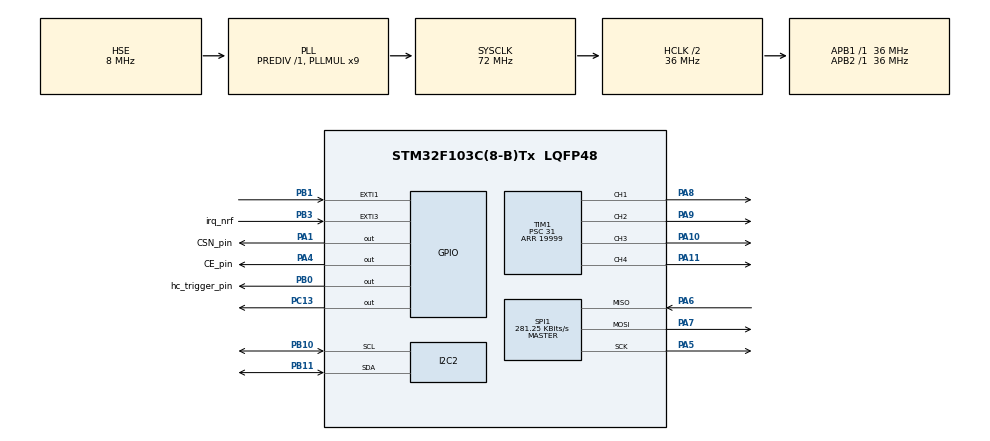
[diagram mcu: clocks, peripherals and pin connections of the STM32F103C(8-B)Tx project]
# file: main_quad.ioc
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I2C2.I2C_Mode=I2C_Fast
Mcu.Family=STM32F1
Mcu.Name=STM32F103C(8-B)Tx
Mcu.Package=LQFP48
NVIC.EXTI1_IRQn=true\:0\:0\:false\:false\:true\:true\:true\:true
NVIC.PriorityGroup=NVIC_PRIORITYGROUP_4
PA1.GPIO_Label=CSN_pin
PA1.Signal=GPIO_Output
PA10.Signal=S_TIM1_CH3
PA11.Signal=S_TIM1_CH4
PA13.Mode=Serial_Wire
PA13.Signal=SYS_JTMS-SWDIO
PA14.Mode=Serial_Wire
PA14.Signal=SYS_JTCK-SWCLK
PA4.GPIO_Label=CE_pin
PA4.Signal=GPIO_Output
PA5.Mode=Full_Duplex_Master
PA5.Signal=SPI1_SCK
PA6.Mode=Full_Duplex_Master
PA6.Signal=SPI1_MISO
PA7.Mode=Full_Duplex_Master
PA7.Signal=SPI1_MOSI
PA8.Signal=S_TIM1_CH1
PA9.Signal=S_TIM1_CH2
PB0.GPIO_Label=hc_trigger_pin
PB0.Signal=GPIO_Output
PB1.GPIO_ModeDefaultEXTI=GPIO_MODE_IT_RISING_FALLING
PB1.Signal=GPXTI1
PB10.Mode=I2C
PB10.Signal=I2C2_SCL
PB11.Mode=I2C
PB11.Signal=I2C2_SDA
PB3.GPIO_Label=irq_nrf
PB3.Signal=GPXTI3
PC13-TAMPER-RTC.Signal=GPIO_Output
PD0-OSC_IN.Mode=HSE-External-Oscillator
PD0-OSC_IN.Signal=RCC_OSC_IN
PD1-OSC_OUT.Mode=HSE-External-Oscillator
PD1-OSC_OUT.Signal=RCC_OSC_OUT
ProjectManager.HeapSize=0x200
ProjectManager.StackSize=0x400
ProjectManager.TargetToolchain=STM32CubeIDE
RCC.ADCPresc=RCC_ADCPCLK2_DIV4
RCC.AHBCLKDivider=RCC_SYSCLK_DIV2
RCC.AHBFreq_Value=36000000
RCC.APB1Freq_Value=36000000
RCC.APB1TimFreq_Value=36000000
RCC.APB2Freq_Value=36000000
RCC.APB2TimFreq_Value=36000000
RCC.HCLKFreq_Value=36000000
RCC.PLLMUL=RCC_PLL_MUL9
RCC.PLLSourceVirtual=RCC_PLLSOURCE_HSE
RCC.SYSCLKFreq_VALUE=72000000
RCC.SYSCLKSource=RCC_SYSCLKSOURCE_PLLCLK
RCC.USBFreq_Value=72000000
SH.S_TIM1_CH1.0=TIM1_CH1,PWM Generation1 CH1
SH.S_TIM1_CH2.0=TIM1_CH2,PWM Generation2 CH2
SH.S_TIM1_CH3.0=TIM1_CH3,PWM Generation3 CH3
SH.S_TIM1_CH4.0=TIM1_CH4,PWM Generation4 CH4
SPI1.BaudRatePrescaler=SPI_BAUDRATEPRESCALER_128
SPI1.CalculateBaudRate=281.25 KBits/s
SPI1.Direction=SPI_DIRECTION_2LINES
SPI1.Mode=SPI_MODE_MASTER
SPI1.VirtualType=VM_MASTER
TIM1.Channel-PWM\ Generation1\ CH1=TIM_CHANNEL_1
TIM1.Channel-PWM\ Generation2\ CH2=TIM_CHANNEL_2
TIM1.Channel-PWM\ Generation3\ CH3=TIM_CHANNEL_3
TIM1.Channel-PWM\ Generation4\ CH4=TIM_CHANNEL_4
TIM1.Period=19999
TIM1.Prescaler=31
TIM1.Pulse-PWM\ Generation1\ CH1=1000
TIM1.Pulse-PWM\ Generation2\ CH2=1000
TIM1.Pulse-PWM\ Generation3\ CH3=1000
TIM1.Pulse-PWM\ Generation4\ CH4=1000
TIM2.Period=0xffff-1
TIM2.Prescaler=35
VP_TIM2_VS_ClockSourceINT.Mode=Internal
board=custom

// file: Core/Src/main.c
/* USER CODE BEGIN Header */
/**
  ******************************************************************************
  * @file           : main.c
  * @brief          : Main program body
  ******************************************************************************
  * @attention
  *
  * Copyright (c) 2022 STMicroelectronics.
  * All rights reserved.
  *
  * This software is licensed under terms that can be found in the LICENSE file
  * in the root directory of this software component.
  * If no LICENSE file comes with this software, it is provided AS-IS.
  *
  ******************************************************************************
  */
/* USER CODE END Header */
#include "main.h"

/* USER CODE BEGIN PM */
float Max_PWM  = 1800;
float Max_THR  = 1450;
float Min_PWM  = 1050;
#define thr_start  1300
#define speed_up_down  0.1
float throttle  = 1000;
float throttle_PID  = 1000;
float pid_throttle  = 0;
float  acc_total_vector = 4250;
#define speed_LRFB 100
#define KP_xy  0.92		//0.88
#define KI_xy  0.022		//0.02
#define KD_xy  16		//15
#define KP_z  3.2		//3
#define KI_z  0.019		//0.018
#define KD_z  0
#define KP_dc  0.2
#define KI_dc  0.001//0.001
#define KD_dc  2//3
float Setting_docao = 150.0;
/* USER CODE END PM */

I2C_HandleTypeDef hi2c2;

SPI_HandleTypeDef hspi1;

TIM_HandleTypeDef htim1;
TIM_HandleTypeDef htim2;

/* USER CODE BEGIN PV */
uint16_t PWM[4]={1000,1000,1000,1000};
NRF24L01_config_TypeDef nrf_rx_cfg;
uint8_t data_rx_real = 0 ;
uint8_t button_press = 0;
uint8_t old_data_rx_real = 0;
uint16_t count_data_rx_real = 0;
MPU6050_t MPU6050_Data;
PIDSingle PID_ROLL;
PIDSingle PID_PITCH;
PIDSingle PID_YAW;
PIDSingle PID_HG;
uint32_t loop_time = 0;
uint32_t loop_time_hacanh = 0;
uint32_t timer_before = 0;
float ax_cal_tt=0,ay_cal_tt=0;
float gyro_roll_cal_tt =0,gyro_pitch_cal_tt= 0,gyro_yaw_cal_tt= 0;
float angle_roll_acc =0, angle_pitch_acc=0, angle_pitch=0, angle_roll=0;
float pitch_level_adjust = 0,roll_level_adjust = 0;  //Set the pitch angle correction to zero.
float pid_pitch_setpoint = 0,pid_roll_setpoint = 0,pid_yaw_setpoint = 0;  //Set point
// INIT kh value
uint32_t IC_Val = 0;
float_t Distance  = 0;
float_t Kalman_Distance = 5;
uint8_t ok = 0;
uint8_t first_read_hc = 0;
bool loi_xxx = false;
bool is_running = false;
bool is_giudocao = false;
bool hacanh = false;
bool firt_start = true;
/* USER CODE END PV */

void SystemClock_Config(void);
static void MX_GPIO_Init(void);
static void MX_I2C2_Init(void);
static void MX_SPI1_Init(void);
static void MX_TIM1_Init(void);
static void MX_TIM2_Init(void);
/* USER CODE BEGIN PFP */
uint8_t MPU6050_Init(I2C_HandleTypeDef *I2Cx);
/* USER CODE END PFP */

/* USER CODE BEGIN 0 */
void HAL_GPIO_EXTI_Callback(uint16_t GPIO_Pin)
{ 	bool status_ex = 0;
	status_ex = HAL_GPIO_ReadPin(GPIOB, GPIO_Pin);
  if(GPIO_Pin == GPIO_PIN_1){
	  if(status_ex == true)
	  {
		  __HAL_TIM_SET_COUNTER(&htim2,0);
		  HAL_TIM_Base_Start(&htim2);
		  ok = 1;
	  }
	  else if(status_ex == false)
	  {
		  IC_Val = __HAL_TIM_GET_COUNTER(&htim2);
		  Distance = (float)IC_Val * 0.034/2;
		  ok = 2;
	  }
  }
}
void set_val_for_nfr24(NRF24L01_config_TypeDef* nfr24_dummy)
{
	  HAL_GPIO_WritePin( GPIOC, GPIO_PIN_13, GPIO_PIN_RESET);
	  	 //nrf_rx_cfg.RX_TX           = 1; //RX
	  nfr24_dummy->CE_pin          = CE_pin_Pin;
	  nfr24_dummy->CE_port         = CE_pin_GPIO_Port;
	  nfr24_dummy->CSN_pin         = CSN_pin_Pin;
	  nfr24_dummy->CSN_port        = CSN_pin_GPIO_Port;
	  nfr24_dummy->SPI             = &hspi1;
	  nfr24_dummy->radio_channel   = 15;
	  nfr24_dummy->baud_rate       = TM_NRF24L01_DataRate_1M;
	  nfr24_dummy->payload_len     = 1;
	  nfr24_dummy->crc_len         = 1;
	  nfr24_dummy->output_power    = TM_NRF24L01_OutputPower_0dBm;
	  nfr24_dummy->rx_address[ 0 ] = 0x7E;
	  nfr24_dummy->rx_address[ 1 ] = 0x7E;
	  nfr24_dummy->rx_address[ 2 ] = 0x7E;
	  nfr24_dummy->rx_address[ 3 ] = 0x7E;
	  nfr24_dummy->rx_address[ 4 ] = 0x7E;
	  nfr24_dummy->tx_address[ 0 ] = 0xE7;
	  nfr24_dummy->tx_address[ 1 ] = 0xE7;
	  nfr24_dummy->tx_address[ 2 ] = 0xE7;
	  nfr24_dummy->tx_address[ 3 ] = 0xE7;
	  nfr24_dummy->tx_address[ 4 ] = 0xE7;
}
void quad_up(){
	throttle = throttle + speed_up_down ;
	if(throttle < Min_PWM){throttle = Min_PWM;}
	else if(throttle > Max_THR){throttle = Max_THR;}
}
void quad_down(){
	throttle = throttle - speed_up_down*1.5 ;
	if(throttle > Max_THR){throttle = Max_THR;}
}
void quad_right(){
	pid_pitch_setpoint= 0;
	pid_roll_setpoint = -speed_LRFB;
}
void quad_left(){
	pid_pitch_setpoint = 0;
	pid_roll_setpoint = speed_LRFB;
}
void quad_front(){
	pid_pitch_setpoint = speed_LRFB;
	pid_roll_setpoint = 0;
}
void quad_behind(){
	pid_pitch_setpoint = -speed_LRFB;
	pid_roll_setpoint = 0;
}
void quad_giudocao(){
	is_giudocao  = true;
	Setting_docao = 150.0;
	throttle = throttle_PID;
	Reset_PID_Integrator(&PID_HG);
}
void hacanh_quad(){
	loop_time_hacanh = HAL_GetTick();
	throttle = throttle_PID;
	hacanh =true;
	is_giudocao  = false;
}
void quad_stop(){
	is_running = false;
	throttle  = 1000;
	//Reset all
	Reset_PID_Integrator(&PID_ROLL);
	Reset_PID_Integrator(&PID_PITCH);
	Reset_PID_Integrator(&PID_YAW);
	Reset_PID_Integrator(&PID_HG);
}
void quad_start(){
	is_running = true;
	throttle  = thr_start;
	angle_pitch = angle_pitch_acc;
	angle_roll = angle_roll_acc;
	//Reset all
	Reset_PID_Integrator(&PID_ROLL);
	Reset_PID_Integrator(&PID_PITCH);
	Reset_PID_Integrator(&PID_YAW);
	Reset_PID_Integrator(&PID_HG);
}
void quad_reset(){
PWM[0] = 1000;PWM[1] = 1000;
PWM[2] = 1000;PWM[3] = 1000;
}
void calibrate_gyro() {
	uint16_t cal_int = 0;
	gyro_roll_cal_tt = 0;
	gyro_pitch_cal_tt = 0;
	gyro_yaw_cal_tt = 0;
    for (cal_int = 0; cal_int < 2000 ; cal_int ++) {                                  //Take 2000 readings for calibration.                  //Change the led status every 125 readings to indicate calibration.
      MPU6050_Read_All(&hi2c2, &MPU6050_Data);                                                                //Read the gyro output.
      ax_cal_tt += (float)MPU6050_Data.Accel_X_RAW;
      ay_cal_tt += (float)MPU6050_Data.Accel_Y_RAW;
      gyro_roll_cal_tt += (float)MPU6050_Data.Gyro_X_RAW;                                                     //Ad roll value to gyro_roll_cal.
      gyro_pitch_cal_tt += (float)MPU6050_Data.Gyro_Y_RAW;                                                   //Ad pitch value to gyro_pitch_cal.
      gyro_yaw_cal_tt += (float)MPU6050_Data.Gyro_Z_RAW;                                                       //Ad yaw value to gyro_yaw_cal.
    }                                                                  //Set output PB3 low.
    //Now that we have 2000 measures, we need to devide by 2000 to get the average gyro offset.
//  ax_cal_tt  /= 2000;
//	ay_cal_tt  /= 2000;
//	gyro_roll_cal_tt /= 2000;              //Divide the roll total by 2000.
//  gyro_pitch_cal_tt /= 2000;             //Divide the pitch total by 2000.
//  gyro_yaw_cal_tt /= 2000;                //Divide the yaw total by 2000.
    ax_cal_tt = 305;
    ay_cal_tt = 170;
	gyro_roll_cal_tt = -248;
	gyro_pitch_cal_tt = -142;
	gyro_yaw_cal_tt = -48;
}

void correct_data_and_calibrate_3truc(){

	MPU6050_Data.G_roll	 = 	(float)(MPU6050_Data.Gyro_X_RAW - gyro_roll_cal_tt	) ;
	MPU6050_Data.G_pitch = 	(float)(MPU6050_Data.Gyro_Y_RAW - gyro_pitch_cal_tt	)*(-1);
	MPU6050_Data.G_yaw 	 = 	(float)(MPU6050_Data.Gyro_Z_RAW - gyro_yaw_cal_tt	)*(-1);

	MPU6050_Data.A_pitch 	= (float)(MPU6050_Data.Accel_X_RAW - ax_cal_tt)	*(1);
	MPU6050_Data.A_roll 	= (float)(MPU6050_Data.Accel_Y_RAW - ay_cal_tt)	*(-1);
	MPU6050_Data.A_yaw 		= (float)(MPU6050_Data.Accel_Z_RAW)	*(-1);

}

void calculate_agl_roll_pitch(){
	//bo loc
	MPU6050_Data.Gx_roll  = MPU6050_Data.Gx_roll*0.8	+(float)(MPU6050_Data.G_roll /65.5)*0.2;//Gyro pid input is deg/sec.
	MPU6050_Data.Gy_pitch = MPU6050_Data.Gy_pitch*0.8	+(float)(MPU6050_Data.G_pitch /65.5)*0.2;//Gyro pid input is deg/sec.
	MPU6050_Data.Gz_yaw   = MPU6050_Data.Gz_yaw*0.8		+(float)(MPU6050_Data.G_yaw /65.5)*0.2;//Gyro pid input is deg/sec.

	angle_roll  +=  MPU6050_Data.G_roll  * 0.00007634;
	angle_pitch +=  MPU6050_Data.G_pitch  * 0.00007634;   //Calculate the traveled pitch angle and add this to the angle_pitch variable.

	angle_pitch -= angle_roll * sin(MPU6050_Data.G_yaw * 0.000001332);//If the IMU has yawed transfer the roll angle to the pitch angel.
	angle_roll  += angle_pitch* sin(MPU6050_Data.G_yaw * 0.000001332);//If the IMU has yawed transfer the pitch angle to the roll angel.

		//Tinh toan goc
	acc_total_vector = sqrt((MPU6050_Data.A_roll * MPU6050_Data.A_roll) +
			(MPU6050_Data.A_pitch * MPU6050_Data.A_pitch) + (MPU6050_Data.A_yaw * MPU6050_Data.A_yaw));
	if(abs(MPU6050_Data.A_roll) < acc_total_vector)
		{angle_roll_acc = asin(MPU6050_Data.A_roll/acc_total_vector)*(-57.296);	}	//(0 ->90)
	if(abs(MPU6050_Data.A_pitch) < acc_total_vector)
		{angle_pitch_acc = asin(MPU6050_Data.A_pitch/acc_total_vector)* (57.296);}	//(0 ->90)
	angle_pitch_acc -= (0);
	angle_roll_acc -=  (0);
	angle_pitch = angle_pitch * 0.9995 + angle_pitch_acc * 0.0005;
	angle_roll = angle_roll * 0.9995 + angle_roll_acc * 0.0005;
}
void calculate_setpoint_pid(){
	//Set point roll pitch yal
	pid_roll_setpoint  = 0;
	pid_pitch_setpoint = 0;
	pid_yaw_setpoint = 0;
	pitch_level_adjust = angle_pitch * 15 ;
	roll_level_adjust =  angle_roll * 15;
	if(data_rx_real != 0 && ((data_rx_real & 0b11111) == 0)){
			if(data_rx_real == 0x20){		quad_front();	}
			else if(data_rx_real == 0x40){	quad_right();	}
			else if(data_rx_real == 0x60){	quad_behind();	}
			else if(data_rx_real == 0x80){	quad_left();	}
			else if(data_rx_real == 0x10){	quad_stop();	}
	}
	else{
	}
	pid_roll_setpoint  -= roll_level_adjust;
	pid_pitch_setpoint -= pitch_level_adjust;
	pid_roll_setpoint  /= 3.0;
	pid_pitch_setpoint /= 3.0;
}
void read_hc05(){
	HAL_GPIO_WritePin(GPIOB, hc_trigger_pin_Pin, GPIO_PIN_SET);
	HAL_GPIO_WritePin(GPIOB, hc_trigger_pin_Pin, GPIO_PIN_RESET);
}
void read_hc05_and_fillter(){
	if(first_read_hc == 0){
		read_hc05();
		Kalman_Distance =Kalman_Distance*0.8 + Distance*0.2;
		if(Kalman_Distance <4 )		{Kalman_Distance =4;}
		if(Kalman_Distance >450 )	{Kalman_Distance =450; }
		first_read_hc++;
	}
	else if(first_read_hc >= 1){
		first_read_hc = 0;
	}
}
void check_looptime(){
	//check loop time for 1 time calculate
	loop_time =(HAL_GetTick() - timer_before) ;
	if(loop_time > 5){loi_xxx = 1;}
 	while(loop_time <= 3){
		loop_time =(HAL_GetTick() - timer_before);
	}
	timer_before = HAL_GetTick();
}
/* USER CODE END 0 */

int main(void)
{
  /* USER CODE BEGIN 1 */
 	Int_PID_Integrator(&PID_ROLL,	KP_xy	,	KI_xy	,	KD_xy	);
	Int_PID_Integrator(&PID_PITCH,	KP_xy	,	KI_xy	,	KD_xy	);
	Int_PID_Integrator(&PID_YAW,	KP_z	,	KI_z	,	KD_z	);
	Int_PID_Integrator(&PID_HG,		KP_dc	,	KI_dc	,	KD_dc	);
  /* USER CODE END 1 */

  /* MCU Configuration--------------------------------------------------------*/

  /* Reset of all peripherals, Initializes the Flash interface and the Systick. */
  HAL_Init();

  /* Configure the system clock */
  SystemClock_Config();

  /* Initialize all configured peripherals */
  MX_GPIO_Init();
  MX_I2C2_Init();
  MX_SPI1_Init();
  MX_TIM1_Init();
  MX_TIM2_Init();
  /* USER CODE BEGIN 2 */
  HAL_GPIO_WritePin(GPIOC, GPIO_PIN_13,GPIO_PIN_RESET);
  while(MPU6050_Data.MPU6050_address != 0x68){
	  MPU6050_Data.MPU6050_address =MPU6050_Init(&hi2c2);
	  HAL_Delay(50);
  }
  set_val_for_nfr24(&nrf_rx_cfg);
  mbal_NRF24L01_Init(&nrf_rx_cfg );
  HAL_Delay(100);
  // Innit value for NRF24
MPU6050_Data.A_roll = 0;
MPU6050_Data.A_pitch = 0;
MPU6050_Data.A_yaw = 0;
  MPU6050_Data.KalmanAngleX = 0;
  MPU6050_Data.KalmanAngleY = 0;
  MPU6050_Data.KalmanAngleZ = 0;
  MPU6050_Data.Gx_roll  = 0;
  MPU6050_Data.Gy_pitch =0;
  MPU6050_Data.Gz_yaw   =0;
  HAL_Delay(100);
  // Innit value for MORTOR
  HAL_TIM_PWM_Start(&htim1,TIM_CHANNEL_1);
  HAL_TIM_PWM_Start(&htim1,TIM_CHANNEL_2);
  HAL_TIM_PWM_Start(&htim1,TIM_CHANNEL_3);
  HAL_TIM_PWM_Start(&htim1,TIM_CHANNEL_4);
  __HAL_TIM_SetCompare(&htim1,TIM_CHANNEL_1,1000);
  __HAL_TIM_SetCompare(&htim1,TIM_CHANNEL_2,1000);
  __HAL_TIM_SetCompare(&htim1,TIM_CHANNEL_3,1000);
  __HAL_TIM_SetCompare(&htim1,TIM_CHANNEL_4,1000);
  //get first value
  calibrate_gyro();
  timer_before = HAL_GetTick();//get time when starting
  HAL_GPIO_WritePin(GPIOC, GPIO_PIN_13,GPIO_PIN_SET);
  /* USER CODE END 2 */

  /* Infinite loop */
  /* USER CODE BEGIN WHILE */
  while (1)
  {
/*------------------------------READ DATA----------------------*/
	  mbal_NRF24L01_GetData(&nrf_rx_cfg, &data_rx_real);
	  MPU6050_Read_All(&hi2c2, &MPU6050_Data);//read data
	  correct_data_and_calibrate_3truc();
	  calculate_agl_roll_pitch();
	  calculate_setpoint_pid();
	  read_hc05_and_fillter();
///*-------------------------Check right left front behind----------------------*/
    /* USER CODE END WHILE */

    /* USER CODE BEGIN 3 */
	  button_press = 0;
	  for(button_press = 0 ;button_press < 5 ; button_press ++){
		  if((data_rx_real>>button_press)&1){
			  break;
		  }
		  if(button_press == 4){
			  if(!((data_rx_real>>button_press)&1)){
				  button_press = 10;
				  break;
			  }
		  }
	  }
	if(button_press==3)		{	quad_stop();	}
	else if(button_press==2){	if (hacanh == false){quad_start();	}}
	else if(button_press==0){	quad_down();	}
	else if(button_press==1){	if (hacanh == false){quad_up();		}}
	else {}
///*------------------------------Operation Run Motor ----------------------*/
  	  	PID_Calculation(&PID_ROLL,pid_roll_setpoint,MPU6050_Data.Gx_roll );
  		PID_Calculation(&PID_PITCH,pid_pitch_setpoint,MPU6050_Data.Gy_pitch );
  		PID_Calculation(&PID_YAW,pid_yaw_setpoint,MPU6050_Data.Gz_yaw );
  		PID_Calculation_thr(&PID_HG,Setting_docao,Kalman_Distance);

if(hacanh == true && is_running == true){
	uint32_t time = (HAL_GetTick() - loop_time_hacanh);
	if(time > 500){
		throttle = throttle - 20;
		loop_time_hacanh = HAL_GetTick();
	}
	if((Kalman_Distance <= 8)&& (throttle <= 1200))
	{	quad_stop();	}
	throttle_PID = throttle;
}
else{
	throttle_PID = throttle;
}
if((is_running== true)){
	  		PWM[0] = (uint16_t)(throttle_PID + PID_ROLL.pid_result + PID_PITCH.pid_result + PID_YAW.pid_result);
	  		PWM[1] = (uint16_t)(throttle_PID + PID_ROLL.pid_result - PID_PITCH.pid_result - PID_YAW.pid_result);
	  		PWM[2] = (uint16_t)(throttle_PID - PID_ROLL.pid_result + PID_PITCH.pid_result - PID_YAW.pid_result);
	  		PWM[3] = (uint16_t)(throttle_PID - PID_ROLL.pid_result - PID_PITCH.pid_result + PID_YAW.pid_result);
	  for(int i=0 ; i <4 ; i++){
	  	if (PWM[i] > Max_PWM) {PWM[i] = Max_PWM;}
	  	if (PWM[i] < Min_PWM) {if(hacanh == false){PWM[i] = Min_PWM;}}
	  }
  		__HAL_TIM_SetCompare(&htim1,TIM_CHANNEL_1,PWM[0]);
  		__HAL_TIM_SetCompare(&htim1,TIM_CHANNEL_2,PWM[1]);
  		__HAL_TIM_SetCompare(&htim1,TIM_CHANNEL_3,PWM[2]);
  		__HAL_TIM_SetCompare(&htim1,TIM_CHANNEL_4,PWM[3]);
	  }
	  else{
		__HAL_TIM_SetCompare(&htim1,TIM_CHANNEL_1,1000);
		__HAL_TIM_SetCompare(&htim1,TIM_CHANNEL_2,1000);
		__HAL_TIM_SetCompare(&htim1,TIM_CHANNEL_3,1000);
		__HAL_TIM_SetCompare(&htim1,TIM_CHANNEL_4,1000);
	  }
///*-----------------------------End-Operation ----------------------*/
  check_looptime();
  }
  /* USER CODE END 3 */
}

void SystemClock_Config(void)
{
  RCC_OscInitTypeDef RCC_OscInitStruct = {0};
  RCC_ClkInitTypeDef RCC_ClkInitStruct = {0};

  /** Initializes the RCC Oscillators according to the specified parameters
  * in the RCC_OscInitTypeDef structure.
  */
  RCC_OscInitStruct.OscillatorType = RCC_OSCILLATORTYPE_HSE;
  RCC_OscInitStruct.HSEState = RCC_HSE_ON;
  RCC_OscInitStruct.HSEPredivValue = RCC_HSE_PREDIV_DIV1;
  RCC_OscInitStruct.HSIState = RCC_HSI_ON;
  RCC_OscInitStruct.PLL.PLLState = RCC_PLL_ON;
  RCC_OscInitStruct.PLL.PLLSource = RCC_PLLSOURCE_HSE;
  RCC_OscInitStruct.PLL.PLLMUL = RCC_PLL_MUL9;
  if (HAL_RCC_OscConfig(&RCC_OscInitStruct) != HAL_OK)
  {
    Error_Handler();
  }

  /** Initializes the CPU, AHB and APB buses clocks
  */
  RCC_ClkInitStruct.ClockType = RCC_CLOCKTYPE_HCLK|RCC_CLOCKTYPE_SYSCLK
                              |RCC_CLOCKTYPE_PCLK1|RCC_CLOCKTYPE_PCLK2;
  RCC_ClkInitStruct.SYSCLKSource = RCC_SYSCLKSOURCE_PLLCLK;
  RCC_ClkInitStruct.AHBCLKDivider = RCC_SYSCLK_DIV2;
  RCC_ClkInitStruct.APB1CLKDivider = RCC_HCLK_DIV1;
  RCC_ClkInitStruct.APB2CLKDivider = RCC_HCLK_DIV1;

  if (HAL_RCC_ClockConfig(&RCC_ClkInitStruct, FLASH_LATENCY_2) != HAL_OK)
  {
    Error_Handler();
  }
}

static void MX_I2C2_Init(void)
{

  hi2c2.Instance = I2C2;
  hi2c2.Init.ClockSpeed = 400000;
  hi2c2.Init.DutyCycle = I2C_DUTYCYCLE_2;
  hi2c2.Init.OwnAddress1 = 0;
  hi2c2.Init.AddressingMode = I2C_ADDRESSINGMODE_7BIT;
  hi2c2.Init.DualAddressMode = I2C_DUALADDRESS_DISABLE;
  hi2c2.Init.OwnAddress2 = 0;
  hi2c2.Init.GeneralCallMode = I2C_GENERALCALL_DISABLE;
  hi2c2.Init.NoStretchMode = I2C_NOSTRETCH_DISABLE;
  if (HAL_I2C_Init(&hi2c2) != HAL_OK)
  {
    Error_Handler();
  }

}

static void MX_SPI1_Init(void)
{

  /* SPI1 parameter configuration*/
  hspi1.Instance = SPI1;
  hspi1.Init.Mode = SPI_MODE_MASTER;
  hspi1.Init.Direction = SPI_DIRECTION_2LINES;
  hspi1.Init.DataSize = SPI_DATASIZE_8BIT;
  hspi1.Init.CLKPolarity = SPI_POLARITY_LOW;
  hspi1.Init.CLKPhase = SPI_PHASE_1EDGE;
  hspi1.Init.NSS = SPI_NSS_SOFT;
  hspi1.Init.BaudRatePrescaler = SPI_BAUDRATEPRESCALER_128;
  hspi1.Init.FirstBit = SPI_FIRSTBIT_MSB;
  hspi1.Init.TIMode = SPI_TIMODE_DISABLE;
  hspi1.Init.CRCCalculation = SPI_CRCCALCULATION_DISABLE;
  hspi1.Init.CRCPolynomial = 10;
  if (HAL_SPI_Init(&hspi1) != HAL_OK)
  {
    Error_Handler();
  }

}

static void MX_TIM1_Init(void)
{

  TIM_MasterConfigTypeDef sMasterConfig = {0};
  TIM_OC_InitTypeDef sConfigOC = {0};
  TIM_BreakDeadTimeConfigTypeDef sBreakDeadTimeConfig = {0};

  htim1.Instance = TIM1;
  htim1.Init.Prescaler = 31;
  htim1.Init.CounterMode = TIM_COUNTERMODE_UP;
  htim1.Init.Period = 19999;
  htim1.Init.ClockDivision = TIM_CLOCKDIVISION_DIV1;
  htim1.Init.RepetitionCounter = 0;
  htim1.Init.AutoReloadPreload = TIM_AUTORELOAD_PRELOAD_DISABLE;
  if (HAL_TIM_PWM_Init(&htim1) != HAL_OK)
  {
    Error_Handler();
  }
  sMasterConfig.MasterOutputTrigger = TIM_TRGO_RESET;
  sMasterConfig.MasterSlaveMode = TIM_MASTERSLAVEMODE_DISABLE;
  if (HAL_TIMEx_MasterConfigSynchronization(&htim1, &sMasterConfig) != HAL_OK)
  {
    Error_Handler();
  }
  sConfigOC.OCMode = TIM_OCMODE_PWM1;
  sConfigOC.Pulse = 1000;
  sConfigOC.OCPolarity = TIM_OCPOLARITY_HIGH;
  sConfigOC.OCNPolarity = TIM_OCNPOLARITY_HIGH;
  sConfigOC.OCFastMode = TIM_OCFAST_DISABLE;
  sConfigOC.OCIdleState = TIM_OCIDLESTATE_RESET;
  sConfigOC.OCNIdleState = TIM_OCNIDLESTATE_RESET;
  if (HAL_TIM_PWM_ConfigChannel(&htim1, &sConfigOC, TIM_CHANNEL_1) != HAL_OK)
  {
    Error_Handler();
  }
  if (HAL_TIM_PWM_ConfigChannel(&htim1, &sConfigOC, TIM_CHANNEL_2) != HAL_OK)
  {
    Error_Handler();
  }
  if (HAL_TIM_PWM_ConfigChannel(&htim1, &sConfigOC, TIM_CHANNEL_3) != HAL_OK)
  {
    Error_Handler();
  }
  if (HAL_TIM_PWM_ConfigChannel(&htim1, &sConfigOC, TIM_CHANNEL_4) != HAL_OK)
  {
    Error_Handler();
  }
  sBreakDeadTimeConfig.OffStateRunMode = TIM_OSSR_DISABLE;
  sBreakDeadTimeConfig.OffStateIDLEMode = TIM_OSSI_DISABLE;
  sBreakDeadTimeConfig.LockLevel = TIM_LOCKLEVEL_OFF;
  sBreakDeadTimeConfig.DeadTime = 0;
  sBreakDeadTimeConfig.BreakState = TIM_BREAK_DISABLE;
  sBreakDeadTimeConfig.BreakPolarity = TIM_BREAKPOLARITY_HIGH;
  sBreakDeadTimeConfig.AutomaticOutput = TIM_AUTOMATICOUTPUT_DISABLE;
  if (HAL_TIMEx_ConfigBreakDeadTime(&htim1, &sBreakDeadTimeConfig) != HAL_OK)
  {
    Error_Handler();
  }
  HAL_TIM_MspPostInit(&htim1);

}

static void MX_TIM2_Init(void)
{

  TIM_ClockConfigTypeDef sClockSourceConfig = {0};
  TIM_MasterConfigTypeDef sMasterConfig = {0};

  htim2.Instance = TIM2;
  htim2.Init.Prescaler = 35;
  htim2.Init.CounterMode = TIM_COUNTERMODE_UP;
  htim2.Init.Period = 0xffff-1;
  htim2.Init.ClockDivision = TIM_CLOCKDIVISION_DIV1;
  htim2.Init.AutoReloadPreload = TIM_AUTORELOAD_PRELOAD_DISABLE;
  if (HAL_TIM_Base_Init(&htim2) != HAL_OK)
  {
    Error_Handler();
  }
  sClockSourceConfig.ClockSource = TIM_CLOCKSOURCE_INTERNAL;
  if (HAL_TIM_ConfigClockSource(&htim2, &sClockSourceConfig) != HAL_OK)
  {
    Error_Handler();
  }
  sMasterConfig.MasterOutputTrigger = TIM_TRGO_RESET;
  sMasterConfig.MasterSlaveMode = TIM_MASTERSLAVEMODE_DISABLE;
  if (HAL_TIMEx_MasterConfigSynchronization(&htim2, &sMasterConfig) != HAL_OK)
  {
    Error_Handler();
  }

}

static void MX_GPIO_Init(void)
{
  GPIO_InitTypeDef GPIO_InitStruct = {0};

  /* GPIO Ports Clock Enable */
  __HAL_RCC_GPIOC_CLK_ENABLE();
  __HAL_RCC_GPIOD_CLK_ENABLE();
  __HAL_RCC_GPIOA_CLK_ENABLE();
  __HAL_RCC_GPIOB_CLK_ENABLE();

  /*Configure GPIO pin Output Level */
  HAL_GPIO_WritePin(GPIOC, GPIO_PIN_13, GPIO_PIN_RESET);

  /*Configure GPIO pin Output Level */
  HAL_GPIO_WritePin(GPIOA, CSN_pin_Pin|CE_pin_Pin, GPIO_PIN_RESET);

  /*Configure GPIO pin Output Level */
  HAL_GPIO_WritePin(hc_trigger_pin_GPIO_Port, hc_trigger_pin_Pin, GPIO_PIN_RESET);

  /*Configure GPIO pin : PC13 */
  GPIO_InitStruct.Pin = GPIO_PIN_13;
  GPIO_InitStruct.Mode = GPIO_MODE_OUTPUT_PP;
  GPIO_InitStruct.Pull = GPIO_NOPULL;
  GPIO_InitStruct.Speed = GPIO_SPEED_FREQ_LOW;
  HAL_GPIO_Init(GPIOC, &GPIO_InitStruct);

  /*Configure GPIO pins : CSN_pin_Pin CE_pin_Pin */
  GPIO_InitStruct.Pin = CSN_pin_Pin|CE_pin_Pin;
  GPIO_InitStruct.Mode = GPIO_MODE_OUTPUT_PP;
  GPIO_InitStruct.Pull = GPIO_NOPULL;
  GPIO_InitStruct.Speed = GPIO_SPEED_FREQ_LOW;
  HAL_GPIO_Init(GPIOA, &GPIO_InitStruct);

  /*Configure GPIO pin : hc_trigger_pin_Pin */
  GPIO_InitStruct.Pin = hc_trigger_pin_Pin;
  GPIO_InitStruct.Mode = GPIO_MODE_OUTPUT_PP;
  GPIO_InitStruct.Pull = GPIO_NOPULL;
  GPIO_InitStruct.Speed = GPIO_SPEED_FREQ_LOW;
  HAL_GPIO_Init(hc_trigger_pin_GPIO_Port, &GPIO_InitStruct);

  /*Configure GPIO pin : PB1 */
  GPIO_InitStruct.Pin = GPIO_PIN_1;
  GPIO_InitStruct.Mode = GPIO_MODE_IT_RISING_FALLING;
  GPIO_InitStruct.Pull = GPIO_NOPULL;
  HAL_GPIO_Init(GPIOB, &GPIO_InitStruct);

  /*Configure GPIO pin : irq_nrf_Pin */
  GPIO_InitStruct.Pin = irq_nrf_Pin;
  GPIO_InitStruct.Mode = GPIO_MODE_IT_RISING;
  GPIO_InitStruct.Pull = GPIO_NOPULL;
  HAL_GPIO_Init(irq_nrf_GPIO_Port, &GPIO_InitStruct);

  /* EXTI interrupt init*/
  HAL_NVIC_SetPriority(EXTI1_IRQn, 0, 0);
  HAL_NVIC_EnableIRQ(EXTI1_IRQn);

}

void Error_Handler(void)
{
  __disable_irq();
  while (1)
  {
  }
}
